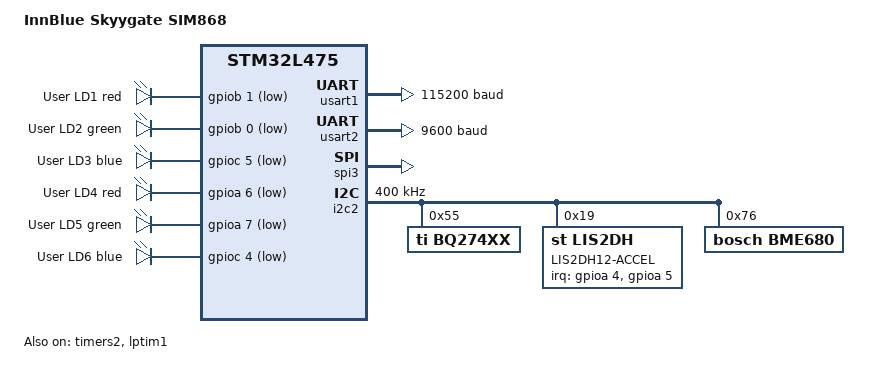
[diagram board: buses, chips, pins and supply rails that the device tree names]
/*
 * Copyright (c) 2020 InnBlue
 *
 * SPDX-License-Identifier: Apache-2.0
 */

/dts-v1/;
#include <st/l4/stm32l475Xg.dtsi>


/ {
	model = "InnBlue Skyygate SIM868";
	compatible = "innblue,skyygate-sim868", "st,stm32l475";

	chosen {
		zephyr,console = &usart1;
		zephyr,shell-uart = &usart1;
		zephyr,sram = &sram0;
		zephyr,flash = &flash0;
		zephyr,code-partition = &slot0_partition;
	};
	
	leds {
		compatible = "gpio-leds";
		user_led_1: led_1 {
			gpios = <&gpiob 1 GPIO_INT_ACTIVE_LOW>;
			label = "User LD1 red";
		};
		user_led_2: led_2 {
			gpios = <&gpiob 0 GPIO_INT_ACTIVE_LOW>;
			label = "User LD2 green";
		};
		user_led_3: led_3 {
			gpios = <&gpioc 5 GPIO_INT_ACTIVE_LOW>;
			label = "User LD3 blue";
		};
		user_led_4: led_4 {
			gpios = <&gpioa 6 GPIO_INT_ACTIVE_LOW>;
			label = "User LD4 red";
		};
		user_led_5: led_5 {
			gpios = <&gpioa 7 GPIO_INT_ACTIVE_LOW>;
			label = "User LD5 green";
		};
		user_led_6: led_6 {
			gpios = <&gpioc 4 GPIO_INT_ACTIVE_LOW>;
			label = "User LD6 blue";
		};
	};
	
	aliases {
		led0 = &user_led_1;
		led1 = &user_led_2;
		led2 = &user_led_3;
		led3 = &user_led_4;
		led4 = &user_led_5;
		led5 = &user_led_6;
	};
};

&usart1 {
	current-speed = <115200>;
	status = "okay";
};

/* Skyygate Sim868 board uses USART2 to 
 * interface with the SIM Modem device. */
&usart2 {
	current-speed = <9600>;
	status = "okay";
};

&spi3 {
	status = "okay";
	
	/* SCK  = PC10 */
	/* MISO = PC11 */
	/* MOSI = PC12 */
	
	cs-gpios = <&gpiob 5 0>; /* CS = PB5 */
	
 	nrf-ble-controller@0 {
		compatible = "zephyr,bt-hci-spi";
		reg = <0>;
		spi-max-frequency = <400000>;
		label = "NRF_BLE_CTRL";
	
		/* FIXME: These are added simply because the BLE stack won't build
		 * without them. Right now, I don't know how the custom board handles
		 * this. Will be updated once I learn more. OK for now. */
		reset-gpios = <&gpiob 2 0>; /* PB2 = CN1:D8 */ 
		irq-gpios = <&gpioa 15 0>;  /* PA15 = CN1:D9 */
	};	
};

&flash0 {
	/*
	 * For more information, see:
	 * http://docs.zephyrproject.org/latest/guides/dts/index.html#flash-partitions
	 */
	partitions {
		compatible = "fixed-partitions";
		#address-cells = <1>;
		#size-cells = <1>;

		boot_partition: partition@0 {
			label = "mcuboot";
			reg = <0x00000000 0x00010000>;
			read-only;
		};

		/*
		 * The flash starting at offset 0x10000 and ending at
		 * offset 0x1ffff is reserved for use by the application.
		 */

		slot0_partition: partition@20000 {
			label = "image-0";
			reg = <0x00020000 0x0006C000>;
		};
		slot1_partition: partition@8c000 {
			label = "image-1";
			reg = <0x0008C000 0x0006C000>;
		};
		scratch_partition: partition@f8000 {
			label = "image-scratch";
			reg = <0x000F8000 0x00006000>;
		};

		storage_partition: partition@fc000 {
			label = "storage";
			reg = <0x000fc000 0x00004000>;
		};
	};
};

&timers2 {
	status = "okay";
};

&lptim1 {
	status = "okay";
};

&i2c2 {
	status = "okay";
	
  	clock-frequency = <I2C_BITRATE_FAST>; 
	
	bq27421@55 {
		compatible = "ti,bq274xx";
		label = "BQ274XX";
		reg = <0x55>;
	};

	lis2dh12-accel@19 {
		compatible = "st,lis2dh";
		reg = <0x19>;
		
		/* LIS2DH has Interrupts on PA4 / PA5. */
		irq-gpios = <&gpioa 4 0>, <&gpioa 5 0>;
		label = "LIS2DH12-ACCEL";
	};	
	
	bme680@76 {
		compatible = "bosch,bme680";
		label = "BME680";
		reg = <0x76>;
	};
};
